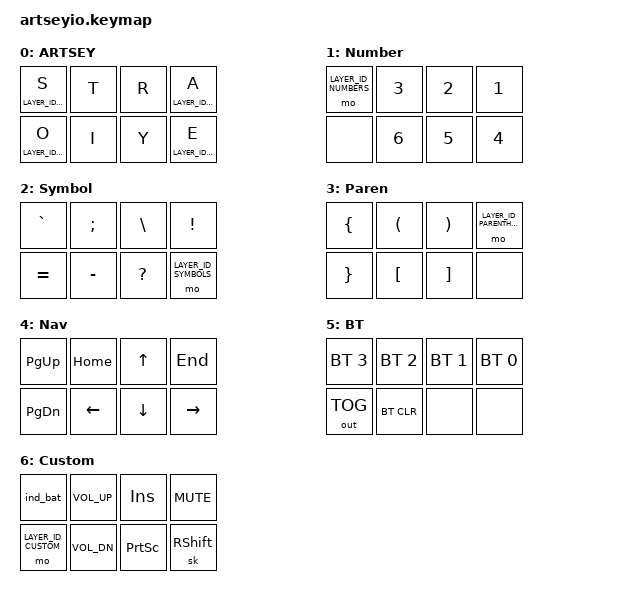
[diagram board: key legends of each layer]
#include <behaviors/rgbled_widget.dtsi>  // needed to use the behaviors
#include <dt-bindings/led/led.h>
#include <behaviors.dtsi>
#include <dt-bindings/zmk/bt.h>
#include <dt-bindings/zmk/keys.h>
#include <dt-bindings/zmk/keys.h>
#include <dt-bindings/zmk/outputs.h>

#define TIMEOUT_COMBO_2 175
#define TIMEOUT_COMBO_3 175
#define TIMEOUT_COMBO_4 175
#define TIMEOUT_LAYER_HOLD 200
#define TIMEOUT_STICKY_LEADER_KEY 5000
#define TIMEOUT_HOLD_FN 5000

&sk { release-after-ms = <TIMEOUT_STICKY_LEADER_KEY>; };

&sl { release-after-ms = <TIMEOUT_STICKY_LEADER_KEY>; };

#define ARTSEY_BASE_A A
#define ARTSEY_BASE_R R
#define ARTSEY_BASE_T T
#define ARTSEY_BASE_S S
#define ARTSEY_BASE_E E
#define ARTSEY_BASE_Y Y
#define ARTSEY_BASE_I I
#define ARTSEY_BASE_O O
#define ARTSEY_COMBO_N N
#define LAYER_ID_GLOBAL -1
#define LAYER_ID_BASE 0
#define LAYER_ID_NUMBERS 1
#define LAYER_ID_SYMBOLS 2
#define LAYER_ID_PARENTHETICALS 3
#define LAYER_ID_NAVIGATION 4
#define LAYER_ID_BT_SEL 5
#define LAYER_ID_CUSTOM 6
#define LAYER_ID_BIG_SYM 7
#define LAYER_ID_BIG_FUNCTION 8

/ {
    combos {
        compatible = "zmk,combos";

        /*****************************************
		 * 2 key combos
		 *****************************************/
        // Function layer doesn't apply to non-big artsey presently

        combo_enter {
            timeout-ms = <TIMEOUT_COMBO_2>;
            key-positions = <3 7>;
            bindings = <&kp ENTER>;
        };

        combo_control {
            timeout-ms = <TIMEOUT_COMBO_2>;
            key-positions = <7 0>;
            bindings = <&sk LCTRL>;
        };

        combo_gui {
            timeout-ms = <TIMEOUT_COMBO_2>;
            key-positions = <6 0>;
            bindings = <&sk LGUI>;
        };

        combo_alt {
            timeout-ms = <TIMEOUT_COMBO_2>;
            key-positions = <5 0>;
            bindings = <&sk LALT>;
        };

        combo_backspace {
            timeout-ms = <TIMEOUT_COMBO_2>;
            key-positions = <7 2>;
            bindings = <&kp BACKSPACE>;
        };

        combo_delete {
            timeout-ms = <TIMEOUT_COMBO_2>;
            key-positions = <5 2>;
            bindings = <&kp DELETE>;
        };

        combo_shift_lock {
            timeout-ms = <TIMEOUT_COMBO_2>;
            key-positions = <2 6>;
            bindings = <&kt LSHFT>;
        };

        combo_b {
            layers = <LAYER_ID_BASE>;
            timeout-ms = <TIMEOUT_COMBO_2>;
            key-positions = <7 4>;
            bindings = <&kp B>;
        };

        combo_c {
            layers = <LAYER_ID_BASE>;
            timeout-ms = <TIMEOUT_COMBO_2>;
            key-positions = <7 6>;
            bindings = <&kp C>;
        };

        combo_n {
            layers = <LAYER_ID_BASE>;
            timeout-ms = <TIMEOUT_COMBO_2>;
            key-positions = <5 4>;
            bindings = <&kp ARTSEY_COMBO_N>;
        };

        combo_f {
            layers = <LAYER_ID_BASE>;
            timeout-ms = <TIMEOUT_COMBO_2>;
            key-positions = <3 2>;
            bindings = <&kp F>;
        };

        combo_g {
            layers = <LAYER_ID_BASE>;
            timeout-ms = <TIMEOUT_COMBO_2>;
            key-positions = <2 1>;
            bindings = <&kp G>;
        };

        combo_u {
            layers = <LAYER_ID_BASE>;
            timeout-ms = <TIMEOUT_COMBO_2>;
            key-positions = <6 5>;
            bindings = <&kp U>;
        };

        combo_h {
            layers = <LAYER_ID_BASE>;
            timeout-ms = <TIMEOUT_COMBO_2>;
            key-positions = <7 5>;
            bindings = <&kp H>;
        };

        combo_v {
            layers = <LAYER_ID_BASE>;
            timeout-ms = <TIMEOUT_COMBO_2>;
            key-positions = <2 0>;
            bindings = <&kp V>;
        };

        combo_j {
            layers = <LAYER_ID_BASE>;
            timeout-ms = <TIMEOUT_COMBO_2>;
            key-positions = <1 0>;
            bindings = <&kp J>;
        };

        combo_w {
            layers = <LAYER_ID_BASE>;
            timeout-ms = <TIMEOUT_COMBO_2>;
            key-positions = <3 0>;
            bindings = <&kp W>;
        };

        combo_k {
            layers = <LAYER_ID_BASE>;
            timeout-ms = <TIMEOUT_COMBO_2>;
            key-positions = <6 4>;
            bindings = <&kp K>;
        };

        combo_comma {
            layers = <LAYER_ID_BASE>;
            timeout-ms = <TIMEOUT_COMBO_2>;
            key-positions = <3 6>;
            bindings = <&kp COMMA>;
        };

        combo_period {
            layers = <LAYER_ID_BASE>;
            timeout-ms = <TIMEOUT_COMBO_2>;
            key-positions = <3 5>;
            bindings = <&kp PERIOD>;
        };

        combo_slash {
            layers = <LAYER_ID_BASE>;
            timeout-ms = <TIMEOUT_COMBO_2>;
            key-positions = <3 4>;
            bindings = <&kp SLASH>;
        };

        combo_exclamation {
            layers = <LAYER_ID_BASE>;
            timeout-ms = <TIMEOUT_COMBO_2>;
            key-positions = <1 5>;
            bindings = <&kp EXCL>;
        };

        combo_seven {
            layers = <LAYER_ID_NUMBERS>;
            timeout-ms = <TIMEOUT_COMBO_2>;
            key-positions = <3 2>;
            bindings = <&kp N7>;
        };

        combo_eight {
            layers = <LAYER_ID_NUMBERS>;
            timeout-ms = <TIMEOUT_COMBO_2>;
            key-positions = <2 1>;
            bindings = <&kp N8>;
        };

        combo_nine {
            layers = <LAYER_ID_NUMBERS>;
            timeout-ms = <TIMEOUT_COMBO_2>;
            key-positions = <7 6>;
            bindings = <&kp N9>;
        };

        combo_zero {
            layers = <LAYER_ID_NUMBERS>;
            timeout-ms = <TIMEOUT_COMBO_2>;
            key-positions = <6 5>;
            bindings = <&kp N0>;
        };

        /*****************************************
		 * 3 key combos
		 *****************************************/

        combo_esc {
            timeout-ms = <TIMEOUT_COMBO_3>;
            key-positions = <3 2 4>;
            bindings = <&kp ESC>;
        };

        combo_layer_navigation {
            timeout-ms = <TIMEOUT_COMBO_3>;
            key-positions = <2 7 5>;
            bindings = <&tog LAYER_ID_NAVIGATION>;
        };

        combo_m {
            layers = <LAYER_ID_BASE>;
            timeout-ms = <TIMEOUT_COMBO_3>;
            key-positions = <6 5 4>;
            bindings = <&kp M>;
        };

        combo_d {
            layers = <LAYER_ID_BASE>;
            timeout-ms = <TIMEOUT_COMBO_3>;
            key-positions = <3 2 1>;
            bindings = <&kp D>;
        };

        combo_p {
            layers = <LAYER_ID_BASE>;
            timeout-ms = <TIMEOUT_COMBO_3>;
            key-positions = <7 5 4>;
            bindings = <&kp P>;
        };

        combo_q {
            layers = <LAYER_ID_BASE>;
            timeout-ms = <TIMEOUT_COMBO_3>;
            key-positions = <3 1 0>;
            bindings = <&kp Q>;
        };

        combo_x {
            layers = <LAYER_ID_BASE>;
            timeout-ms = <TIMEOUT_COMBO_3>;
            key-positions = <2 1 0>;
            bindings = <&kp X>;
        };

        combo_l {
            layers = <LAYER_ID_BASE>;
            timeout-ms = <TIMEOUT_COMBO_3>;
            key-positions = <7 6 5>;
            bindings = <&kp L>;
        };

        combo_single_quote {
            layers = <LAYER_ID_BASE>;
            timeout-ms = <TIMEOUT_COMBO_3>;
            key-positions = <3 6 5>;
            bindings = <&kp SQT>;
        };

        /*****************************************
		 * 4 key combos
		 *****************************************/

        combo_tab {
            timeout-ms = <TIMEOUT_COMBO_4>;
            key-positions = <3 2 1 4>;
            bindings = <&kp TAB>;
        };

        combo_space {
            timeout-ms = <TIMEOUT_COMBO_4>;
            key-positions = <7 6 5 4>;
            bindings = <&kp SPACE>;
        };

        combo_shift {
            timeout-ms = <TIMEOUT_COMBO_4>;
            key-positions = <7 2 1 0>;
            bindings = <&sk LSHFT>;
        };

        combo_layer_bt_select {
            timeout-ms = <TIMEOUT_COMBO_4>;
            key-positions = <3 7 0 4>;
            bindings = <&tog LAYER_ID_BT_SEL>;
        };

        combo_bt_conn {
            timeout-ms = <TIMEOUT_COMBO_4>;
            key-positions = <2 6 1 5>;
            bindings = <&ind_con>;
        };

        combo_z {
            layers = <LAYER_ID_BASE>;
            timeout-ms = <TIMEOUT_COMBO_4>;
            key-positions = <3 2 1 0>;
            bindings = <&kp Z>;
        };

        combo_caps_lock {
            layers = <LAYER_ID_BASE>;
            timeout-ms = <TIMEOUT_COMBO_4>;
            key-positions = <4 5 6 3>;
            bindings = <&kp CAPS>;
        };

        softoff {
            bindings = <&soft_off>;
            key-positions = <6 7>;
            layers = <5>;
        };
    };
};

/ {
    behaviors {
        layer_hold_kp_tap: layer_hold_kp_tap {
            compatible = "zmk,behavior-hold-tap";
            label = "layer_hold_kp_tap";
            #binding-cells = <2>;
            tapping_term_ms = <TIMEOUT_LAYER_HOLD>;
            flavor = "tap-preferred";
            bindings = <&mo>, <&kp>;
        };

        layer_base_kp: layer_base_kp {
            compatible = "zmk,behavior-hold-tap";
            label = "layer_base_kp";
            #binding-cells = <2>;
            tapping_term_ms = <TIMEOUT_LAYER_HOLD>;
            flavor = "tap-preferred";
            bindings = <&mo>, <&kp>;
        };

        layer_numbers_kp: layer_numbers_kp {
            compatible = "zmk,behavior-hold-tap";
            label = "layer_numbers_kp";
            #binding-cells = <2>;
            tapping_term_ms = <TIMEOUT_LAYER_HOLD>;
            flavor = "tap-preferred";
            bindings = <&mo>, <&kp>;
        };

        layer_symbols_kp: layer_symbols_kp {
            compatible = "zmk,behavior-hold-tap";
            label = "layer_symbols_kp";
            #binding-cells = <2>;
            tapping_term_ms = <TIMEOUT_LAYER_HOLD>;
            flavor = "tap-preferred";
            bindings = <&mo>, <&kp>;
        };

        layer_parentheticals_kp: layer_parentheticals_kp {
            compatible = "zmk,behavior-hold-tap";
            label = "layer_parentheticals_kp";
            #binding-cells = <2>;
            tapping_term_ms = <TIMEOUT_LAYER_HOLD>;
            flavor = "tap-preferred";
            bindings = <&mo>, <&kp>;
        };

        layer_custom_kp: layer_custom_kp {
            compatible = "zmk,behavior-hold-tap";
            label = "layer_custom_kp";
            #binding-cells = <2>;
            tapping_term_ms = <TIMEOUT_LAYER_HOLD>;
            flavor = "tap-preferred";
            bindings = <&mo>, <&kp>;
        };
    };
};

/ {
    keymap {
        compatible = "zmk,keymap";

        base {
            label = "ARTSEY";
            bindings = <
  &layer_hold_kp_tap LAYER_ID_NUMBERS ARTSEY_BASE_S  &kp ARTSEY_BASE_T  &kp ARTSEY_BASE_R  &layer_hold_kp_tap LAYER_ID_PARENTHETICALS ARTSEY_BASE_A
  &layer_hold_kp_tap LAYER_ID_CUSTOM ARTSEY_BASE_O   &kp ARTSEY_BASE_I  &kp ARTSEY_BASE_Y  &layer_hold_kp_tap LAYER_ID_SYMBOLS ARTSEY_BASE_E
            >;
        };

        numbers {
            label = "Number";
            bindings = <
  &mo LAYER_ID_NUMBERS  &kp N3  &kp N2  &kp N1
  &none                 &kp N6  &kp N5  &kp N4
            >;
        };

        symbols {
            label = "Symbol";
            bindings = <
  &kp GRAVE  &kp SEMI   &kp BSLH   &kp EXCL
  &kp EQUAL  &kp MINUS  &kp QMARK  &mo LAYER_ID_SYMBOLS
            >;
        };

        parentheticals {
            label = "Paren";
            bindings = <
  &kp LBRC  &kp LPAR  &kp RPAR  &mo LAYER_ID_PARENTHETICALS
  &kp RBRC  &kp LBKT  &kp RBKT  &none
            >;
        };

        navigation {
            label = "Nav";
            bindings = <
  &kp PG_UP  &kp HOME  &kp UP    &kp END
  &kp PG_DN  &kp LEFT  &kp DOWN  &kp RIGHT
            >;
        };

        bt {
            label = "BT";
            bindings = <
  &bt BT_SEL 3  &bt BT_SEL 2  &bt BT_SEL 1  &bt BT_SEL 0
  &out OUT_TOG  &bt BT_CLR    &none         &none
            >;
        };

        custom {
            label = "Custom";
            bindings = <
  &ind_bat             &kp C_VOL_UP  &kp INS    &kp C_MUTE
  &mo LAYER_ID_CUSTOM  &kp C_VOL_DN  &kp PSCRN  &sk RSHFT
            >;
        };
    };
};
